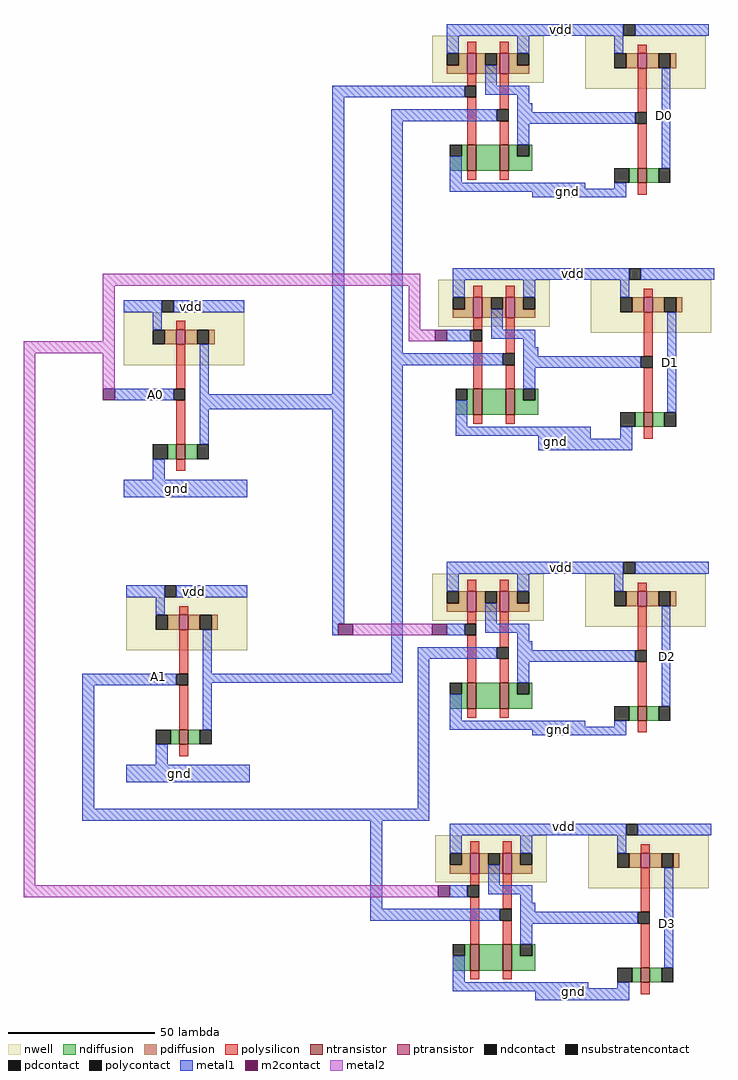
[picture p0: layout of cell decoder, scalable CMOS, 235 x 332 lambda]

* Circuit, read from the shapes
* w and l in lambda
.subckt decoder A0 A1 D0 D1 D2 D3 gnd vdd
M1 n1 A0 gnd VSUBS nfet w=5 l=3
M2 n2 A1 gnd VSUBS nfet w=5 l=3
M3 n3 n1 gnd VSUBS nfet w=9 l=3
M4 n4 n1 gnd VSUBS nfet w=9 l=3
M5 n5 A0 gnd VSUBS nfet w=9 l=3
M6 n6 A0 gnd VSUBS nfet w=9 l=3
M7 n7 A1 n3 VSUBS nfet w=9 l=3
M8 n8 n2 n4 VSUBS nfet w=9 l=3
M9 n9 A1 n5 VSUBS nfet w=9 l=3
M10 n10 n2 n6 VSUBS nfet w=9 l=3
M11 D2 n7 gnd VSUBS nfet w=5 l=3
M12 D0 n8 gnd VSUBS nfet w=5 l=3
M13 D3 n9 gnd VSUBS nfet w=5 l=3
M14 D1 n10 gnd VSUBS nfet w=5 l=3
M15 n1 A0 vdd n11 pfet w=5 l=3
M16 n2 A1 vdd n12 pfet w=5 l=3
M17 n7 n1 vdd n13 pfet w=7 l=3
M18 n8 n1 vdd n14 pfet w=7 l=3
M19 n9 A0 vdd n15 pfet w=7 l=3
M20 n10 A0 vdd n16 pfet w=7 l=3
M21 vdd A1 n7 n13 pfet w=7 l=3
M22 vdd n2 n8 n14 pfet w=7 l=3
M23 vdd A1 n9 n15 pfet w=7 l=3
M24 vdd n2 n10 n16 pfet w=7 l=3
M25 D2 n7 vdd n17 pfet w=5 l=3
M26 D0 n8 vdd n18 pfet w=5 l=3
M27 D3 n9 vdd n19 pfet w=5 l=3
M28 D1 n10 vdd n20 pfet w=5 l=3
.ends

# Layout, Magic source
magic
tech scmos
<< nwell >>
rect 238 137 276 153
rect 290 135 331 153
rect 133 41 174 59
rect 240 54 278 70
rect 292 52 333 70
rect 134 -56 175 -38
rect 238 -46 276 -30
rect 290 -48 331 -30
rect 239 -135 277 -119
rect 291 -137 332 -119
<< polysilicon >>
rect 250 147 253 151
rect 261 147 264 151
rect 308 147 311 150
rect 250 136 253 140
rect 250 116 253 132
rect 261 128 264 140
rect 308 127 311 142
rect 261 116 264 124
rect 308 108 311 123
rect 250 104 253 107
rect 261 104 264 107
rect 308 99 311 103
rect 252 64 255 68
rect 263 64 266 68
rect 310 64 313 67
rect 151 53 154 56
rect 252 53 255 57
rect 151 33 154 48
rect 252 33 255 49
rect 263 45 266 57
rect 310 44 313 59
rect 263 33 266 41
rect 151 14 154 29
rect 310 25 313 40
rect 252 21 255 24
rect 263 21 266 24
rect 310 16 313 20
rect 151 5 154 9
rect 250 -36 253 -32
rect 261 -36 264 -32
rect 308 -36 311 -33
rect 152 -44 155 -41
rect 250 -47 253 -43
rect 152 -64 155 -49
rect 250 -67 253 -51
rect 261 -55 264 -43
rect 308 -56 311 -41
rect 261 -67 264 -59
rect 152 -83 155 -68
rect 308 -75 311 -60
rect 250 -79 253 -76
rect 261 -79 264 -76
rect 308 -84 311 -80
rect 152 -92 155 -88
rect 251 -125 254 -121
rect 262 -125 265 -121
rect 309 -125 312 -122
rect 251 -136 254 -132
rect 251 -156 254 -140
rect 262 -144 265 -132
rect 309 -145 312 -130
rect 262 -156 265 -148
rect 309 -164 312 -149
rect 251 -168 254 -165
rect 262 -168 265 -165
rect 309 -173 312 -169
<< ndiffusion >>
rect 248 112 250 116
rect 244 107 250 112
rect 253 107 261 116
rect 264 112 267 116
rect 271 112 272 116
rect 264 107 272 112
rect 305 103 308 108
rect 311 103 315 108
rect 250 29 252 33
rect 246 24 252 29
rect 255 24 263 33
rect 266 29 269 33
rect 273 29 274 33
rect 266 24 274 29
rect 307 20 310 25
rect 313 20 317 25
rect 148 9 151 14
rect 154 9 158 14
rect 248 -71 250 -67
rect 244 -76 250 -71
rect 253 -76 261 -67
rect 264 -71 267 -67
rect 271 -71 272 -67
rect 264 -76 272 -71
rect 305 -80 308 -75
rect 311 -80 315 -75
rect 149 -88 152 -83
rect 155 -88 159 -83
rect 249 -160 251 -156
rect 245 -165 251 -160
rect 254 -165 262 -156
rect 265 -160 268 -156
rect 272 -160 273 -156
rect 265 -165 273 -160
rect 306 -169 309 -164
rect 312 -169 316 -164
<< pdiffusion >>
rect 247 143 250 147
rect 243 140 250 143
rect 253 143 256 147
rect 260 143 261 147
rect 253 140 261 143
rect 264 143 267 147
rect 264 140 271 143
rect 304 142 308 147
rect 311 142 315 147
rect 319 142 321 147
rect 249 60 252 64
rect 245 57 252 60
rect 255 60 258 64
rect 262 60 263 64
rect 255 57 263 60
rect 266 60 269 64
rect 266 57 273 60
rect 306 59 310 64
rect 313 59 317 64
rect 321 59 323 64
rect 147 48 151 53
rect 154 48 158 53
rect 162 48 164 53
rect 247 -40 250 -36
rect 243 -43 250 -40
rect 253 -40 256 -36
rect 260 -40 261 -36
rect 253 -43 261 -40
rect 264 -40 267 -36
rect 264 -43 271 -40
rect 304 -41 308 -36
rect 311 -41 315 -36
rect 319 -41 321 -36
rect 148 -49 152 -44
rect 155 -49 159 -44
rect 163 -49 165 -44
rect 248 -129 251 -125
rect 244 -132 251 -129
rect 254 -129 257 -125
rect 261 -129 262 -125
rect 254 -132 262 -129
rect 265 -129 268 -125
rect 265 -132 272 -129
rect 305 -130 309 -125
rect 312 -130 316 -125
rect 320 -130 322 -125
<< metal1 >>
rect 243 153 303 157
rect 307 153 332 157
rect 243 147 247 153
rect 267 147 271 153
rect 300 147 303 153
rect 256 136 260 143
rect 204 132 249 136
rect 256 133 271 136
rect 133 59 146 63
rect 150 59 174 63
rect 143 53 146 59
rect 130 29 150 33
rect 159 31 162 48
rect 204 31 208 132
rect 267 130 271 133
rect 159 26 208 31
rect 159 14 162 26
rect 143 2 147 9
rect 133 -4 175 2
rect 134 -38 147 -34
rect 151 -38 175 -34
rect 144 -44 147 -38
rect 160 -64 163 -49
rect 204 -47 208 26
rect 224 124 260 128
rect 267 127 272 130
rect 224 45 228 124
rect 267 123 307 127
rect 267 116 271 123
rect 244 103 248 112
rect 316 108 319 142
rect 244 101 290 103
rect 300 101 304 103
rect 244 100 304 101
rect 272 98 304 100
rect 245 70 305 74
rect 309 70 334 74
rect 245 64 249 70
rect 269 64 273 70
rect 302 64 305 70
rect 258 53 262 60
rect 243 49 251 53
rect 258 50 273 53
rect 269 47 273 50
rect 224 41 262 45
rect 269 44 274 47
rect 204 -51 206 -47
rect 224 -64 228 41
rect 269 40 309 44
rect 269 33 273 40
rect 246 20 250 29
rect 318 25 321 59
rect 246 17 292 20
rect 274 16 292 17
rect 302 16 306 20
rect 274 12 306 16
rect 243 -30 303 -26
rect 307 -30 332 -26
rect 243 -36 247 -30
rect 267 -36 271 -30
rect 300 -36 303 -30
rect 256 -47 260 -40
rect 243 -51 249 -47
rect 256 -50 271 -47
rect 267 -53 271 -50
rect 119 -68 151 -64
rect 160 -67 228 -64
rect 233 -59 260 -55
rect 267 -56 272 -53
rect 119 -110 123 -68
rect 160 -83 163 -67
rect 144 -95 148 -88
rect 134 -101 176 -95
rect 233 -110 237 -59
rect 267 -60 307 -56
rect 267 -67 271 -60
rect 244 -80 248 -71
rect 316 -75 319 -41
rect 244 -82 290 -80
rect 300 -82 304 -80
rect 244 -83 304 -82
rect 272 -85 304 -83
rect 119 -114 237 -110
rect 217 -144 221 -114
rect 244 -119 304 -115
rect 308 -119 333 -115
rect 244 -125 248 -119
rect 268 -125 272 -119
rect 301 -125 304 -119
rect 257 -136 261 -129
rect 244 -140 250 -136
rect 257 -139 272 -136
rect 268 -142 272 -139
rect 217 -148 261 -144
rect 268 -145 273 -142
rect 268 -149 308 -145
rect 268 -156 272 -149
rect 245 -169 249 -160
rect 317 -164 320 -130
rect 245 -171 291 -169
rect 301 -171 305 -169
rect 245 -172 305 -171
rect 273 -175 305 -172
<< metal2 >>
rect 126 68 234 72
rect 126 49 130 68
rect 230 53 234 68
rect 230 49 239 53
rect 99 45 130 49
rect 99 -136 103 45
rect 126 33 130 45
rect 211 -51 238 -47
rect 99 -140 240 -136
<< ntransistor >>
rect 250 107 253 116
rect 261 107 264 116
rect 308 103 311 108
rect 252 24 255 33
rect 263 24 266 33
rect 310 20 313 25
rect 151 9 154 14
rect 250 -76 253 -67
rect 261 -76 264 -67
rect 308 -80 311 -75
rect 152 -88 155 -83
rect 251 -165 254 -156
rect 262 -165 265 -156
rect 309 -169 312 -164
<< ptransistor >>
rect 250 140 253 147
rect 261 140 264 147
rect 308 142 311 147
rect 252 57 255 64
rect 263 57 266 64
rect 310 59 313 64
rect 151 48 154 53
rect 250 -43 253 -36
rect 261 -43 264 -36
rect 308 -41 311 -36
rect 152 -49 155 -44
rect 251 -132 254 -125
rect 262 -132 265 -125
rect 309 -130 312 -125
<< polycontact >>
rect 249 132 253 136
rect 260 124 264 128
rect 307 123 311 127
rect 251 49 255 53
rect 262 41 266 45
rect 309 40 313 44
rect 150 29 154 33
rect 249 -51 253 -47
rect 151 -68 155 -64
rect 260 -59 264 -55
rect 307 -60 311 -56
rect 250 -140 254 -136
rect 261 -148 265 -144
rect 308 -149 312 -145
<< ndcontact >>
rect 244 112 248 116
rect 267 112 271 116
rect 300 103 305 108
rect 315 103 319 108
rect 246 29 250 33
rect 269 29 273 33
rect 302 20 307 25
rect 317 20 321 25
rect 143 9 148 14
rect 158 9 162 14
rect 244 -71 248 -67
rect 267 -71 271 -67
rect 300 -80 305 -75
rect 315 -80 319 -75
rect 144 -88 149 -83
rect 159 -88 163 -83
rect 245 -160 249 -156
rect 268 -160 272 -156
rect 301 -169 306 -164
rect 316 -169 320 -164
<< pdcontact >>
rect 243 143 247 147
rect 256 143 260 147
rect 267 143 271 147
rect 300 142 304 147
rect 315 142 319 147
rect 245 60 249 64
rect 258 60 262 64
rect 269 60 273 64
rect 302 59 306 64
rect 317 59 321 64
rect 143 48 147 53
rect 158 48 162 53
rect 243 -40 247 -36
rect 256 -40 260 -36
rect 267 -40 271 -36
rect 300 -41 304 -36
rect 315 -41 319 -36
rect 144 -49 148 -44
rect 159 -49 163 -44
rect 244 -129 248 -125
rect 257 -129 261 -125
rect 268 -129 272 -125
rect 301 -130 305 -125
rect 316 -130 320 -125
<< m2contact >>
rect 126 29 130 33
rect 239 49 243 53
rect 206 -51 211 -47
rect 238 -51 243 -47
rect 240 -140 244 -136
<< nsubstratencontact >>
rect 303 153 307 157
rect 305 70 309 74
rect 146 59 150 63
rect 303 -30 307 -26
rect 147 -38 151 -34
rect 304 -119 308 -115
<< labels >>
rlabel metal1 156 61 156 61 5 vdd
rlabel metal1 151 -1 151 -1 1 gnd
rlabel metal1 157 -36 157 -36 5 vdd
rlabel metal1 152 -98 152 -98 1 gnd
rlabel metal1 144 31 144 31 1 A0
rlabel metal1 145 -65 145 -65 1 A1
rlabel metal1 286 72 286 72 1 vdd
rlabel metal1 282 -28 282 -28 1 vdd
rlabel metal1 283 -116 283 -116 1 vdd
rlabel metal1 286 -172 286 -172 1 gnd
rlabel metal1 281 -83 281 -83 1 gnd
rlabel metal1 280 15 280 15 1 gnd
rlabel metal1 284 100 284 100 1 gnd
rlabel metal1 317 126 317 126 1 D0
rlabel metal1 319 42 319 42 1 D1
rlabel metal1 318 -58 318 -58 1 D2
rlabel metal1 318 -149 318 -149 1 D3
rlabel metal1 282 155 282 155 5 vdd
<< end >>
